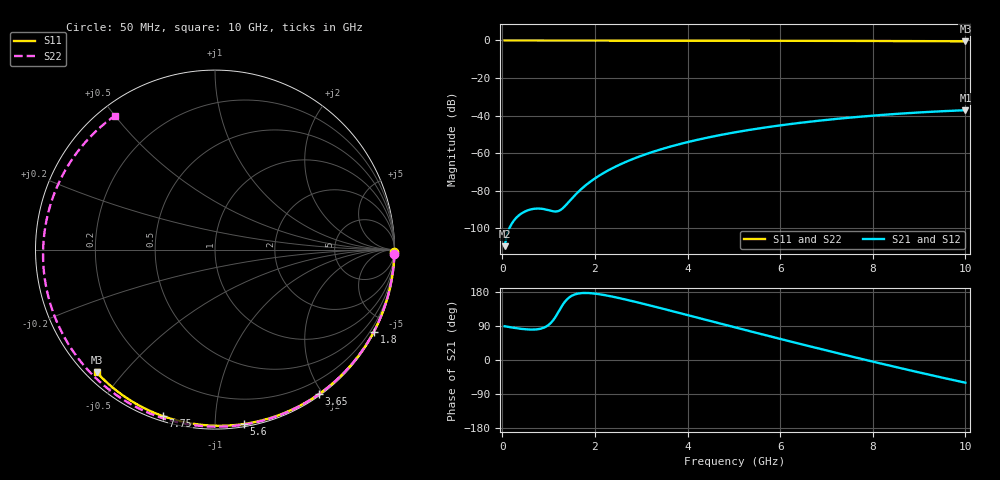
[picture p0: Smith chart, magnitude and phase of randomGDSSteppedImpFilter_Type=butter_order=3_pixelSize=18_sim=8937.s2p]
! freq	dB(S11)	phase(S11)	dB(S12)	phase(S12)
!  dB(S21)	phase(S21)	dB(S22)	phase(S22)
!S-par simulation data
#  GHz  S  DB  R 50
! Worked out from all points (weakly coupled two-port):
!   200 points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, 50 MHz to 10 GHz, reference 50 ohm
!   highest |S21| = -37.10 dB at 10 GHz (marker M1); lowest = -109.4 dB at 50 MHz (marker M2)
!   lowest |S11| = -0.5 dB at 10 GHz (marker M3), VSWR 38.45, Z = 1.53 - j21.2 ohm
!   |S11| at or under -10 dB: nowhere
!   |S22| runs from -0.6 to 0.0 dB; largest |S21 - S12| = 0
!   S11 on the Smith chart (normalised r, x): 50 MHz: open; 1.8 GHz: 0.04, -4.11; 3.65 GHz: 0.02, -1.96; 5.6 GHz: 0.02, -1.18; 7.75 GHz: 0.02, -0.73; 10 GHz: 0.03, -0.42
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0.05  -0.00 -0.8  -109.42 89.1  -109.42 89.1  -0.00 -1.4
0.4  -0.01 -6.1  -92.26 82.4  -92.26 82.4  -0.02 -11.0
0.8  -0.02 -12.3  -89.42 81.9  -89.42 81.9  -0.03 -21.9
1.2  -0.02 -18.3  -90.83 124.1  -90.83 124.1  -0.04 -32.6
1.65  -0.03 -25.1  -80.31 175.6  -80.31 175.6  -0.06 -44.5
1.75  -0.03 -26.6  -78.08 176.8  -78.08 176.8  -0.06 -47.1
1.8  -0.03 -27.3  -77.05 176.9  -77.05 176.9  -0.06 -48.4
2.1  -0.04 -31.8  -71.80 173.5  -71.80 173.5  -0.07 -56.1
2.45  -0.05 -36.9  -67.05 165.4  -67.05 165.4  -0.08 -64.9
2.9  -0.06 -43.5  -62.28 152.7  -62.28 152.7  -0.10 -75.9
3.4  -0.07 -50.6  -58.09 137.4  -58.09 137.4  -0.11 -87.8
3.65  -0.07 -54.1  -56.31 129.6  -56.31 129.6  -0.12 -93.6
4.35  -0.09 -63.8  -52.10 107.5  -52.10 107.5  -0.15 -109.3
5.05  -0.11 -73.3  -48.76 85.3  -48.76 85.3  -0.18 -124.5
5.6  -0.13 -80.5  -46.57 68.1  -46.57 68.1  -0.21 -136.2
6.15  -0.15 -87.6  -44.69 51.1  -44.69 51.1  -0.25 -147.7
6.7  -0.18 -94.5  -43.05 34.3  -43.05 34.3  -0.29 -159.1
7.25  -0.21 -101.3  -41.63 17.8  -41.63 17.8  -0.34 -170.6
7.75  -0.25 -107.4  -40.51 3.0  -40.51 3.0  -0.38 178.7
8.35  -0.29 -114.5  -39.34 -14.4  -39.34 -14.4  -0.44 165.7
9.15  -0.36 -124.0  -38.09 -36.9  -38.09 -36.9  -0.52 147.5
10  -0.45 -134.0  -37.10 -59.9  -37.10 -59.9  -0.62 126.9
